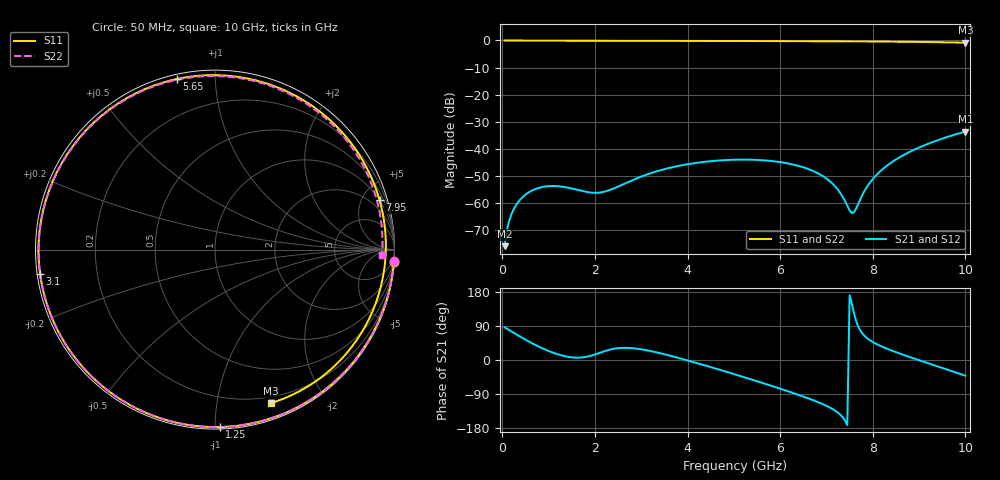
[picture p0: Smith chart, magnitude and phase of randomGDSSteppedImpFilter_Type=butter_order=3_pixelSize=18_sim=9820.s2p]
! freq	dB(S11)	phase(S11)	dB(S12)	phase(S12)
!  dB(S21)	phase(S21)	dB(S22)	phase(S22)
!S-par simulation data
#  GHz  S  DB  R 50
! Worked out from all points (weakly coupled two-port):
!   200 points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, 50 MHz to 10 GHz, reference 50 ohm
!   highest |S21| = -33.59 dB at 10 GHz (marker M1); lowest = -75.9 dB at 50 MHz (marker M2)
!   lowest |S11| = -0.8 dB at 10 GHz (marker M3), VSWR 21.25, Z = 7.11 - j70.9 ohm
!   |S11| at or under -10 dB: nowhere
!   |S22| runs from -0.6 to 0.0 dB; largest |S21 - S12| = 0
!   S11 on the Smith chart (normalised r, x): 50 MHz: 0, -29; 1.25 GHz: 0.01, -1.03; 3.1 GHz: 0.01, -0.07; 5.65 GHz: 0.02, +0.80; 7.95 GHz: 1.01, +6.65; 10 GHz: 0.14, -1.42
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0.05  -0.00 -4.0  -75.85 86.3  -75.85 86.3  -0.01 -3.6
0.1  -0.01 -7.9  -69.87 82.5  -69.87 82.5  -0.01 -7.3
0.15  -0.02 -11.8  -66.40 78.8  -66.40 78.8  -0.01 -10.9
0.25  -0.03 -19.5  -62.13 71.4  -62.13 71.4  -0.03 -18.0
0.4  -0.05 -30.9  -58.45 60.6  -58.45 60.6  -0.04 -28.5
0.8  -0.07 -59.7  -54.31 34.6  -54.31 34.6  -0.07 -55.2
1.25  -0.10 -88.5  -53.83 13.2  -53.83 13.2  -0.09 -82.0
1.75  -0.11 -115.7  -55.60 7.2  -55.60 7.2  -0.11 -107.5
2.1  -0.12 -132.3  -56.10 18.8  -56.10 18.8  -0.12 -123.0
2.4  -0.13 -145.2  -54.61 29.4  -54.61 29.4  -0.12 -135.1
3.1  -0.14 -172.1  -49.56 26.1  -49.56 26.1  -0.13 -159.7
3.4  -0.15 177.4  -47.93 18.2  -47.93 18.2  -0.14 -169.3
4.2  -0.17 150.6  -45.12 -8.0  -45.12 -8.0  -0.16 167.3
5.05  -0.20 122.8  -43.96 -38.9  -43.96 -38.9  -0.19 143.9
5.65  -0.23 102.7  -44.20 -61.8  -44.20 -61.8  -0.22 127.7
6.7  -0.28 65.4  -48.04 -105.5  -48.04 -105.5  -0.27 98.7
7.2  -0.31 46.5  -54.06 -134.6  -54.06 -134.6  -0.30 84.5
7.55  -0.34 32.8  -63.66 146.9  -63.66 146.9  -0.32 74.2
7.95  -0.38 16.7  -52.19 51.2  -52.19 51.2  -0.35 62.3
8.35  -0.43 0.3  -45.62 27.7  -45.62 27.7  -0.39 50.1
9.1  -0.56 -31.2  -38.76 -4.6  -38.76 -4.6  -0.47 26.7
10  -0.82 -70.0  -33.59 -41.4  -33.59 -41.4  -0.62 -1.9
